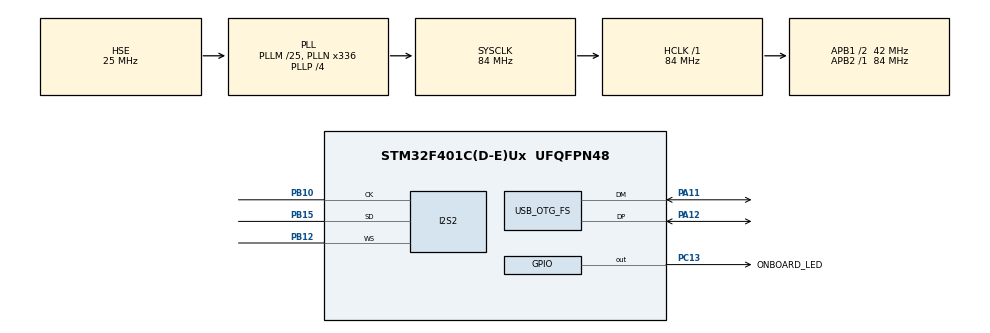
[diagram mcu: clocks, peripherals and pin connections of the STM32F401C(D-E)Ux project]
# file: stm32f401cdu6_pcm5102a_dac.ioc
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Dma.Request0=SPI2_TX
Dma.SPI2_TX.0.Direction=DMA_MEMORY_TO_PERIPH
Dma.SPI2_TX.0.FIFOMode=DMA_FIFOMODE_ENABLE
Dma.SPI2_TX.0.FIFOThreshold=DMA_FIFO_THRESHOLD_HALFFULL
Dma.SPI2_TX.0.Instance=DMA1_Stream4
Dma.SPI2_TX.0.MemBurst=DMA_MBURST_SINGLE
Dma.SPI2_TX.0.MemDataAlignment=DMA_MDATAALIGN_HALFWORD
Dma.SPI2_TX.0.MemInc=DMA_MINC_ENABLE
Dma.SPI2_TX.0.Mode=DMA_CIRCULAR
Dma.SPI2_TX.0.PeriphBurst=DMA_PBURST_SINGLE
Dma.SPI2_TX.0.PeriphDataAlignment=DMA_PDATAALIGN_HALFWORD
Dma.SPI2_TX.0.PeriphInc=DMA_PINC_DISABLE
Dma.SPI2_TX.0.Priority=DMA_PRIORITY_HIGH
I2S2.AudioFreq=I2S_AUDIOFREQ_48K
I2S2.DataFormat=I2S_DATAFORMAT_16B
I2S2.ErrorAudioFreq=0.0 %
I2S2.FullDuplexMode=I2S_FULLDUPLEXMODE_DISABLE
I2S2.Instance=SPI$Index
I2S2.RealAudioFreq=48.0 KHz
I2S2.VirtualMode=I2S_MODE_MASTER
Mcu.Family=STM32F4
Mcu.Name=STM32F401C(D-E)Ux
Mcu.Package=UFQFPN48
NVIC.DMA1_Stream4_IRQn=true\:0\:0\:false\:false\:true\:false\:true\:true
NVIC.PriorityGroup=NVIC_PRIORITYGROUP_4
PA11.Mode=Device_Only
PA11.Signal=USB_OTG_FS_DM
PA12.Mode=Device_Only
PA12.Signal=USB_OTG_FS_DP
PA13.Mode=Serial_Wire
PA13.Signal=SYS_JTMS-SWDIO
PA14.Mode=Serial_Wire
PA14.Signal=SYS_JTCK-SWCLK
PB10.Mode=Half_Duplex_Master
PB10.Signal=I2S2_CK
PB12.Mode=Half_Duplex_Master
PB12.Signal=I2S2_WS
PB15.Mode=Half_Duplex_Master
PB15.Signal=I2S2_SD
PC13-ANTI_TAMP.GPIO_Label=ONBOARD_LED
PC13-ANTI_TAMP.Signal=GPIO_Output
PH0\ -\ OSC_IN.Mode=HSE-External-Oscillator
PH0\ -\ OSC_IN.Signal=RCC_OSC_IN
PH1\ -\ OSC_OUT.Mode=HSE-External-Oscillator
PH1\ -\ OSC_OUT.Signal=RCC_OSC_OUT
ProjectManager.HeapSize=0x200
ProjectManager.StackSize=0x400
ProjectManager.TargetToolchain=STM32CubeIDE
RCC.48MHZClocksFreq_Value=48000000
RCC.AHBFreq_Value=84000000
RCC.APB1CLKDivider=RCC_HCLK_DIV2
RCC.APB1Freq_Value=42000000
RCC.APB1TimFreq_Value=84000000
RCC.APB2Freq_Value=84000000
RCC.APB2TimFreq_Value=84000000
RCC.CortexFreq_Value=84000000
RCC.HCLKFreq_Value=84000000
RCC.HSE_VALUE=25000000
RCC.HSI_VALUE=16000000
RCC.LSE_VALUE=32768
RCC.PLLI2SN=384
RCC.PLLI2SR=5
RCC.PLLM=25
RCC.PLLN=336
RCC.PLLP=RCC_PLLP_DIV4
RCC.PLLQ=7
RCC.SYSCLKFreq_VALUE=84000000
RCC.SYSCLKSource=RCC_SYSCLKSOURCE_PLLCLK
RCC.VCOOutputFreq_Value=336000000
USB_OTG_FS.VirtualMode=Device_Only
board=custom

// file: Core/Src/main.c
/* USER CODE BEGIN Header */
/**
 ******************************************************************************
 * @file           : main.c
 * @brief          : Main program body
 ******************************************************************************
 * @attention
 *
 * Copyright (c) 2024 STMicroelectronics.
 * All rights reserved.
 *
 * This software is licensed under terms that can be found in the LICENSE file
 * in the root directory of this software component.
 * If no LICENSE file comes with this software, it is provided AS-IS.
 *
 ******************************************************************************
 */
/* USER CODE END Header */
#include "main.h"

/* USER CODE BEGIN Includes */
#include "volume_ctrl.h"
#include "usb_speaker.h"
#include "ring_buf.h"
/* USER CODE END Includes */

/* USER CODE BEGIN PTD */
//--------------------------------------------------------------------+
// MACRO CONSTANT TYPEDEF PROTOTYPES
//--------------------------------------------------------------------+
typedef struct _current_settings_t {
	// Audio controls
	// Current states
	int8_t mute[CFG_TUD_AUDIO_FUNC_1_N_CHANNELS_RX + 1]; // +1 for master channel 0
	int16_t volume[CFG_TUD_AUDIO_FUNC_1_N_CHANNELS_RX + 1]; // +1 for master channel 0
	int32_t volume_db[CFG_TUD_AUDIO_FUNC_1_N_CHANNELS_RX + 1]; // +1 for master channel 0

	uint32_t sample_rate;
	uint8_t resolution;
	uint32_t blink_interval_ms;

	uint16_t samples_in_i2s_frame_min;
	uint16_t samples_in_i2s_frame_max;

	bool mic_muted_by_user;
	bool mic_live_status;

	uint32_t cur_time_ms;

} current_settings_t;
/* USER CODE END PTD */

I2S_HandleTypeDef hi2s2;
DMA_HandleTypeDef hdma_spi2_tx;

PCD_HandleTypeDef hpcd_USB_OTG_FS;

/* USER CODE BEGIN PV */
current_settings_t current_settings;
ring_buf_t ring_buffer;
uint8_t *ring_buffer_storage;

// Buffer for speaker data
//i2s_32b_audio_sample spk_i2s_buffer[SAMPLE_BUFFER_SIZE];
i2s_32b_audio_sample spk_32b_i2s_buffer[SAMPLE_BUFFER_SIZE];
i2s_16b_audio_sample spk_16b_i2s_buffer[SAMPLE_BUFFER_SIZE];
uint8_t spk_usb_read_buf[CFG_TUD_AUDIO_FUNC_1_EP_OUT_SW_BUF_SZ];
uint8_t spk_i2s_buf[CFG_TUD_AUDIO_FUNC_1_EP_OUT_SW_BUF_SZ];

/* USER CODE END PV */

void SystemClock_Config(void);
static void MX_GPIO_Init(void);
static void MX_DMA_Init(void);
static void MX_I2S2_Init(void);
static void MX_USB_OTG_FS_PCD_Init(void);
/* USER CODE BEGIN PFP */

void refresh_i2s_connections();
void led_blinking_task(void);
int32_t usb_to_i2s_32b_sample_convert(int32_t sample, int32_t volume_db);
int16_t usb_to_i2s_16b_sample_convert(int16_t sample, int32_t volume_db);

void usb_speaker_mute_handler(int8_t bChannelNumber, int8_t mute_in);
void usb_speaker_volume_handler(int8_t bChannelNumber, int16_t volume_in);
void usb_speaker_current_sample_rate_handler(uint32_t current_sample_rate_in);
void usb_speaker_current_resolution_handler(uint8_t current_resolution_in);
void usb_speaker_current_status_set_handler(uint32_t blink_interval_ms_in);

void usb_speaker_tud_audio_rx_done_pre_read_handler(uint8_t rhport,
		uint16_t n_bytes_received, uint8_t func_id, uint8_t ep_out,
		uint8_t cur_alt_setting);

int machine_i2s_write_stream(uint8_t *buf_in, size_t size);

void HAL_I2S_TxHalfCpltCallback(I2S_HandleTypeDef *hi2s);
void HAL_I2S_TxCpltCallback(I2S_HandleTypeDef *hi2s);

uint32_t feed_dma(uint8_t *dma_buffer_p, uint32_t sizeof_half_dma_buffer_in_bytes);
/* USER CODE END PFP */

int main(void)
{

  /* MCU Configuration--------------------------------------------------------*/

  /* Reset of all peripherals, Initializes the Flash interface and the Systick. */
  HAL_Init();

  /* Configure the system clock */
  SystemClock_Config();

  /* Initialize all configured peripherals */
  MX_GPIO_Init();
  MX_DMA_Init();
  MX_I2S2_Init();
  MX_USB_OTG_FS_PCD_Init();
  /* USER CODE BEGIN 2 */
	current_settings.sample_rate = I2S_SPK_RATE_DEF;
	current_settings.resolution = CFG_TUD_AUDIO_FUNC_1_RESOLUTION_RX;
	current_settings.blink_interval_ms = BLINK_NOT_MOUNTED;

	usb_speaker_set_mute_set_handler(usb_speaker_mute_handler);
	usb_speaker_set_volume_set_handler(usb_speaker_volume_handler);
	usb_speaker_set_current_sample_rate_set_handler(
			usb_speaker_current_sample_rate_handler);
	usb_speaker_set_current_resolution_set_handler(
			usb_speaker_current_resolution_handler);
	usb_speaker_set_current_status_set_handler(
			usb_speaker_current_status_set_handler);

	usb_speaker_set_tud_audio_rx_done_pre_read_set_handler(
			usb_speaker_tud_audio_rx_done_pre_read_handler);

	usb_speaker_init();
	refresh_i2s_connections();

	for (int i = 0; i < (CFG_TUD_AUDIO_FUNC_1_N_CHANNELS_RX + 1); i++) {
		current_settings.volume[i] = DEFAULT_VOLUME;
		current_settings.mute[i] = 0;
		current_settings.volume_db[i] = vol_to_db_convert(
				current_settings.mute[i], current_settings.volume[i]);
	}
  /* USER CODE END 2 */

  /* Infinite loop */
  /* USER CODE BEGIN WHILE */
	while (1) {
		usb_speaker_task();
		led_blinking_task();
    /* USER CODE END WHILE */

	}
}

void SystemClock_Config(void)
{
  RCC_OscInitTypeDef RCC_OscInitStruct = {0};
  RCC_ClkInitTypeDef RCC_ClkInitStruct = {0};

  /** Configure the main internal regulator output voltage
  */
  __HAL_RCC_PWR_CLK_ENABLE();
  __HAL_PWR_VOLTAGESCALING_CONFIG(PWR_REGULATOR_VOLTAGE_SCALE2);

  /** Initializes the RCC Oscillators according to the specified parameters
  * in the RCC_OscInitTypeDef structure.
  */
  RCC_OscInitStruct.OscillatorType = RCC_OSCILLATORTYPE_HSE;
  RCC_OscInitStruct.HSEState = RCC_HSE_ON;
  RCC_OscInitStruct.PLL.PLLState = RCC_PLL_ON;
  RCC_OscInitStruct.PLL.PLLSource = RCC_PLLSOURCE_HSE;
  RCC_OscInitStruct.PLL.PLLM = 25;
  RCC_OscInitStruct.PLL.PLLN = 336;
  RCC_OscInitStruct.PLL.PLLP = RCC_PLLP_DIV4;
  RCC_OscInitStruct.PLL.PLLQ = 7;
  if (HAL_RCC_OscConfig(&RCC_OscInitStruct) != HAL_OK)
  {
    Error_Handler();
  }

  /** Initializes the CPU, AHB and APB buses clocks
  */
  RCC_ClkInitStruct.ClockType = RCC_CLOCKTYPE_HCLK|RCC_CLOCKTYPE_SYSCLK
                              |RCC_CLOCKTYPE_PCLK1|RCC_CLOCKTYPE_PCLK2;
  RCC_ClkInitStruct.SYSCLKSource = RCC_SYSCLKSOURCE_PLLCLK;
  RCC_ClkInitStruct.AHBCLKDivider = RCC_SYSCLK_DIV1;
  RCC_ClkInitStruct.APB1CLKDivider = RCC_HCLK_DIV2;
  RCC_ClkInitStruct.APB2CLKDivider = RCC_HCLK_DIV1;

  if (HAL_RCC_ClockConfig(&RCC_ClkInitStruct, FLASH_LATENCY_2) != HAL_OK)
  {
    Error_Handler();
  }
}

static void MX_I2S2_Init(void)
{

  hi2s2.Instance = SPI2;
  hi2s2.Init.Mode = I2S_MODE_MASTER_TX;
  hi2s2.Init.Standard = I2S_STANDARD_PHILIPS;
  hi2s2.Init.DataFormat = I2S_DATAFORMAT_16B;
  hi2s2.Init.MCLKOutput = I2S_MCLKOUTPUT_DISABLE;
  hi2s2.Init.AudioFreq = I2S_AUDIOFREQ_48K;
  hi2s2.Init.CPOL = I2S_CPOL_LOW;
  hi2s2.Init.ClockSource = I2S_CLOCK_PLL;
  hi2s2.Init.FullDuplexMode = I2S_FULLDUPLEXMODE_DISABLE;
  if (HAL_I2S_Init(&hi2s2) != HAL_OK)
  {
    Error_Handler();
  }

}

static void MX_USB_OTG_FS_PCD_Init(void)
{

  hpcd_USB_OTG_FS.Instance = USB_OTG_FS;
  hpcd_USB_OTG_FS.Init.dev_endpoints = 4;
  hpcd_USB_OTG_FS.Init.speed = PCD_SPEED_FULL;
  hpcd_USB_OTG_FS.Init.dma_enable = DISABLE;
  hpcd_USB_OTG_FS.Init.phy_itface = PCD_PHY_EMBEDDED;
  hpcd_USB_OTG_FS.Init.Sof_enable = DISABLE;
  hpcd_USB_OTG_FS.Init.low_power_enable = DISABLE;
  hpcd_USB_OTG_FS.Init.lpm_enable = DISABLE;
  hpcd_USB_OTG_FS.Init.vbus_sensing_enable = DISABLE;
  hpcd_USB_OTG_FS.Init.use_dedicated_ep1 = DISABLE;
  if (HAL_PCD_Init(&hpcd_USB_OTG_FS) != HAL_OK)
  {
    Error_Handler();
  }

}

static void MX_DMA_Init(void)
{

  /* DMA controller clock enable */
  __HAL_RCC_DMA1_CLK_ENABLE();

  /* DMA interrupt init */
  /* DMA1_Stream4_IRQn interrupt configuration */
  HAL_NVIC_SetPriority(DMA1_Stream4_IRQn, 0, 0);
  HAL_NVIC_EnableIRQ(DMA1_Stream4_IRQn);

}

static void MX_GPIO_Init(void)
{
  GPIO_InitTypeDef GPIO_InitStruct = {0};

  /* GPIO Ports Clock Enable */
  __HAL_RCC_GPIOC_CLK_ENABLE();
  __HAL_RCC_GPIOH_CLK_ENABLE();
  __HAL_RCC_GPIOB_CLK_ENABLE();
  __HAL_RCC_GPIOA_CLK_ENABLE();

  /*Configure GPIO pin Output Level */
  HAL_GPIO_WritePin(ONBOARD_LED_GPIO_Port, ONBOARD_LED_Pin, GPIO_PIN_RESET);

  /*Configure GPIO pin : ONBOARD_LED_Pin */
  GPIO_InitStruct.Pin = ONBOARD_LED_Pin;
  GPIO_InitStruct.Mode = GPIO_MODE_OUTPUT_PP;
  GPIO_InitStruct.Pull = GPIO_NOPULL;
  GPIO_InitStruct.Speed = GPIO_SPEED_FREQ_LOW;
  HAL_GPIO_Init(ONBOARD_LED_GPIO_Port, &GPIO_InitStruct);

}

/* USER CODE BEGIN 4 */
void usb_speaker_mute_handler(int8_t bChannelNumber, int8_t mute_in) {
	current_settings.mute[bChannelNumber] = mute_in;
	current_settings.volume_db[bChannelNumber] = vol_to_db_convert(
			current_settings.mute[bChannelNumber],
			current_settings.volume[bChannelNumber]);
}

void usb_speaker_volume_handler(int8_t bChannelNumber, int16_t volume_in) {
	current_settings.volume[bChannelNumber] = volume_in;
	current_settings.volume_db[bChannelNumber] = vol_to_db_convert(
			current_settings.mute[bChannelNumber],
			current_settings.volume[bChannelNumber]);
}

void usb_speaker_current_sample_rate_handler(uint32_t current_sample_rate_in) {
	current_settings.sample_rate = current_sample_rate_in;
	refresh_i2s_connections();
}

void usb_speaker_current_resolution_handler(uint8_t current_resolution_in) {
	current_settings.resolution = current_resolution_in;
	refresh_i2s_connections();
}

void usb_speaker_current_status_set_handler(uint32_t blink_interval_ms_in) {
	current_settings.blink_interval_ms = blink_interval_ms_in;
}

void usb_speaker_tud_audio_rx_done_pre_read_handler(uint8_t rhport,
		uint16_t n_bytes_received, uint8_t func_id, uint8_t ep_out,
		uint8_t cur_alt_setting) {
	uint32_t volume_db_master = current_settings.volume_db[0];
	uint32_t volume_db_left = current_settings.volume_db[1];
	uint32_t volume_db_right = current_settings.volume_db[2];

	if (current_settings.blink_interval_ms == BLINK_STREAMING) {
		// Speaker data size received in the last frame
		uint16_t usb_spk_data_size = tud_audio_read(spk_usb_read_buf, n_bytes_received);
		uint16_t usb_sample_count = 0;

		if (current_settings.resolution == 16) {
			int16_t *in = (int16_t*) spk_usb_read_buf;
			usb_sample_count = usb_spk_data_size / 4; // 4 bytes per sample 2b left, 2b right

			//if (usb_sample_count >= current_settings.samples_in_i2s_frame_min) {
				for (int i = 0; i < usb_sample_count; i++) {
					int16_t left = in[i * 2 + 0];
					int16_t right = in[i * 2 + 1];

					left = usb_to_i2s_16b_sample_convert(left, volume_db_left);
					left = usb_to_i2s_16b_sample_convert(left,
							volume_db_master);
					right = usb_to_i2s_16b_sample_convert(right,
							volume_db_right);
					right = usb_to_i2s_16b_sample_convert(right,
							volume_db_master);
					spk_16b_i2s_buffer[i].left = left;
					spk_16b_i2s_buffer[i].right = right;
				}
				machine_i2s_write_stream(&spk_16b_i2s_buffer[0], usb_sample_count*4);
			//}
		} else if (current_settings.resolution == 24) {
			int32_t *in = (int32_t*) spk_usb_read_buf;
			usb_sample_count = usb_spk_data_size / 8; // 8 bytes per sample 4b left, 4b right

			//if (usb_sample_count >= current_settings.samples_in_i2s_frame_min) {
				for (int i = 0; i < usb_sample_count; i++) {
					int32_t left = in[i * 2 + 0];
					int32_t right = in[i * 2 + 1];

					left = usb_to_i2s_32b_sample_convert(left, volume_db_left);
					left = usb_to_i2s_32b_sample_convert(left,
							volume_db_master);
					right = usb_to_i2s_32b_sample_convert(right,
							volume_db_right);
					right = usb_to_i2s_32b_sample_convert(right,
							volume_db_master);
					spk_32b_i2s_buffer[i].left = left;
					spk_32b_i2s_buffer[i].right = right;
				}
				machine_i2s_write_stream(&spk_32b_i2s_buffer[0], usb_sample_count*8);
			//}
		}
	}
}

int32_t usb_to_i2s_32b_sample_convert(int32_t sample, int32_t volume_db) {
	int64_t sample_tmp = (int64_t) sample * (int64_t) volume_db;
	sample_tmp = sample_tmp >> 15;
	return (int32_t) sample_tmp;
	//return (int32_t)sample;
}

int16_t usb_to_i2s_16b_sample_convert(int16_t sample, int32_t volume_db) {
	int32_t sample_tmp = (int32_t) sample * (int32_t) volume_db;
	sample_tmp = sample_tmp >> 15;
	return (int16_t) sample_tmp;
	//return (int16_t)sample;
}

//--------------------------------------------------------------------+
// BLINKING TASK
//--------------------------------------------------------------------+
void refresh_i2s_connections() {
	HAL_I2S_StateTypeDef dma_state =  HAL_I2S_GetState(&hi2s2);
	if(dma_state != HAL_I2S_STATE_READY){
		HAL_StatusTypeDef stop_status = HAL_I2S_DMAStop(&hi2s2);
		if (stop_status != HAL_OK) {
			Error_Handler();
		}
	}

	if(ring_buffer_storage != NULL){
		free(ring_buffer_storage);
	}

	current_settings.samples_in_i2s_frame_min = (current_settings.sample_rate)
			/ 1000;
	current_settings.samples_in_i2s_frame_max = (current_settings.sample_rate
			+ 999) / 1000;
	current_settings.mic_muted_by_user = false;
	current_settings.cur_time_ms = 0;

	uint8_t appbuf_sample_size_in_bytes = (current_settings.resolution == 24) ? (4 * 2) : (2 * 2);

	ring_buffer_storage = m_new(uint8_t, current_settings.samples_in_i2s_frame_max*appbuf_sample_size_in_bytes*2);
	ringbuf_init(&ring_buffer, ring_buffer_storage, current_settings.samples_in_i2s_frame_max*appbuf_sample_size_in_bytes*2);

	// Run transmit DMA
	memset(spk_i2s_buf, 0x0, sizeof(spk_i2s_buf));
	HAL_StatusTypeDef tx_status = HAL_I2S_Transmit_DMA(&hi2s2, spk_i2s_buf,
			current_settings.samples_in_i2s_frame_max*2);
	if (tx_status != HAL_OK) {
		Error_Handler();
	}

//  speaker_i2s0 = create_machine_i2s(0, I2S_SPK_SCK, I2S_SPK_WS, I2S_SPK_SD, TX,
//    ((current_settings.resolution == 16) ? 16 : 32), STEREO, /*ringbuf_len*/SIZEOF_DMA_BUFFER_IN_BYTES, current_settings.sample_rate);
}
void led_blinking_task(void) {
	static uint32_t start_ms = 0;
	static bool led_state = false;

	current_settings.cur_time_ms = board_millis();

	// Blink every interval ms
	if (current_settings.cur_time_ms - start_ms
			< current_settings.blink_interval_ms)
		return;
	start_ms += current_settings.blink_interval_ms;

	board_led_write(led_state);
	led_state = 1 - led_state;
}

int machine_i2s_write_stream(uint8_t *buf_in, size_t size){
	uint8_t appbuf_sample_size_in_bytes = (current_settings.resolution == 24) ? (4 * 2) : (2 * 2);
	if (size % appbuf_sample_size_in_bytes != 0) {
		return -2;
	}

	if (size == 0) {
		return 0;
	}

	// copy audio samples from the app buffer to the ring buffer
	// loop, reading samples until the app buffer is emptied
	// for uasyncio mode, the loop will make an early exit if the ring buffer becomes full

	uint32_t a_index = 0;

	while (a_index < size) {
		// copy a byte to the ringbuf when space becomes available
		while (ringbuf_push(&ring_buffer, buf_in[a_index]) == false) {
			;
		}
		a_index++;
	}

	return a_index;
}

void HAL_I2S_TxHalfCpltCallback(I2S_HandleTypeDef *hi2s) {
	uint32_t transfer_size_in_bytes = (current_settings.resolution == 24) ? (4 * 2) : (2 * 2);
	uint32_t sizeof_half_dma_buffer_in_bytes = current_settings.samples_in_i2s_frame_max*transfer_size_in_bytes/2;
	feed_dma(&spk_i2s_buf[0], sizeof_half_dma_buffer_in_bytes);
}

void HAL_I2S_TxCpltCallback(I2S_HandleTypeDef *hi2s) {
	uint32_t transfer_size_in_bytes = (current_settings.resolution == 24) ? (4 * 2) : (2 * 2);
	uint32_t sizeof_half_dma_buffer_in_bytes = current_settings.samples_in_i2s_frame_max*transfer_size_in_bytes/2;
	feed_dma(&spk_i2s_buf[sizeof_half_dma_buffer_in_bytes], sizeof_half_dma_buffer_in_bytes);
}

uint32_t feed_dma(uint8_t *dma_buffer_p, uint32_t sizeof_half_dma_buffer_in_bytes){
	// when data exists, copy samples from ring buffer
	uint32_t available_data_bytes = ringbuf_available_data(&ring_buffer);
	if(available_data_bytes > sizeof_half_dma_buffer_in_bytes)
	{
		available_data_bytes = sizeof_half_dma_buffer_in_bytes;
	}

	if (available_data_bytes >= sizeof_half_dma_buffer_in_bytes) {
		for (uint32_t i = 0; i < available_data_bytes; i++) {
			ringbuf_pop(&ring_buffer, &dma_buffer_p[i]);
		}
		return available_data_bytes;
	} else {
		// underflow.  clear buffer to transmit "silence" on the I2S bus
		memset(dma_buffer_p, 0, sizeof_half_dma_buffer_in_bytes);
		return sizeof_half_dma_buffer_in_bytes;
	}
}
/* USER CODE END 4 */

void Error_Handler(void)
{
	__disable_irq();
	while (1) {
	}
}
